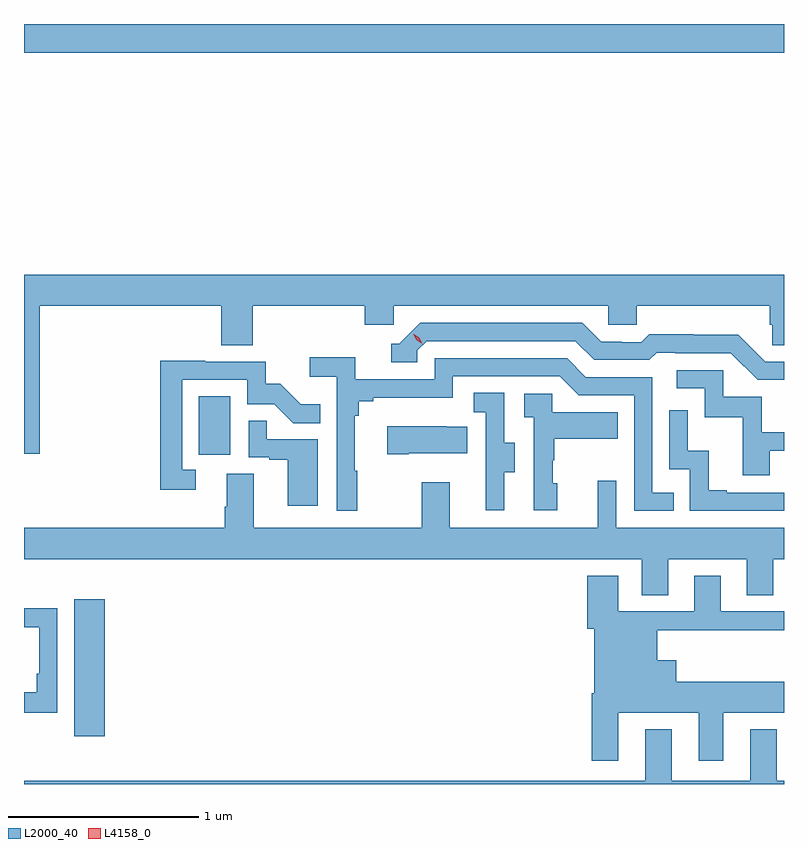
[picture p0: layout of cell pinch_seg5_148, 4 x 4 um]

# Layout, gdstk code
import gdstk
lib = gdstk.Library(unit=1e-6, precision=1e-09)
def R(c, l, rs):  # rectangles x0, y0, x1, y1
    for r in rs: c.add(gdstk.rectangle(r[:2], r[2:], *l))
def P(c, l, *ps):  # polygons
    for p in ps: c.add(gdstk.Polygon(p, *l))
L2000_40 = (2000, 40)
L4158_0 = (4158, 0)

pinch_seg5_148 = lib.new_cell('pinch_seg5_148')
R(pinch_seg5_148, L2000_40, [(1089.515,890.46,1089.676,891.181), (1090.172,891.942,1090.336,892.249), (1089.251,894.056,1093.251,894.208)])
P(pinch_seg5_148, L2000_40, [(1089.335,892.724),(1090.289,892.724),(1090.289,892.516),(1090.454,892.516),(1090.454,892.724),(1091.045,892.724),(1091.045,892.626),(1091.196,892.626),(1091.196,892.724),(1092.327,892.724),(1092.327,892.626),(1092.477,892.626),(1092.477,892.724),(1093.175,892.724),(1093.175,892.626),(1093.189,892.626),(1093.189,892.516),(1093.251,892.516),(1093.251,892.888),(1089.251,892.888),(1089.251,891.945),(1089.335,891.945)],
  [(1093.251,892.431),(1093.152,892.431),(1093.01,892.573),(1092.774,892.573),(1092.774,892.576),(1092.541,892.576),(1092.499,892.533),(1092.396,892.533),(1092.396,892.536),(1092.289,892.536),(1092.19,892.635),(1091.337,892.635),(1091.226,892.524),(1091.183,892.524),(1091.183,892.428),(1091.322,892.428),(1091.322,892.491),(1091.37,892.539),(1092.153,892.539),(1092.252,892.44),(1092.541,892.44),(1092.58,892.479),(1092.679,892.479),(1092.679,892.476),(1092.972,892.476),(1093.113,892.335),(1093.251,892.335)],
  [(1091.005,891.857),(1090.993,891.857),(1090.993,892.145),(1091.012,892.145),(1091.012,892.222),(1091.089,892.222),(1091.089,892.241),(1091.508,892.241),(1091.508,892.353),(1092.072,892.353),(1092.171,892.254),(1092.462,892.254),(1092.462,891.645),(1092.671,891.645),(1092.671,891.741),(1092.558,891.741),(1092.558,892.35),(1092.208,892.35),(1092.109,892.449),(1091.412,892.449),(1091.412,892.338),(1090.994,892.338),(1090.994,892.454),(1090.755,892.454),(1090.755,892.352),(1090.896,892.352),(1090.896,891.645),(1091.005,891.645)],
  [(1090.156,891.861),(1090.083,891.861),(1090.083,892.335),(1090.425,892.335),(1090.425,892.206),(1090.569,892.206),(1090.667,892.108),(1090.811,892.108),(1090.811,892.207),(1090.707,892.207),(1090.6,892.314),(1090.524,892.314),(1090.524,892.431),(1090.205,892.431),(1090.205,892.436),(1089.967,892.436),(1089.967,891.756),(1090.156,891.756)],
  [(1093.177,891.963),(1093.251,891.963),(1093.251,892.059),(1093.135,892.059),(1093.135,892.245),(1092.93,892.245),(1092.93,892.386),(1092.687,892.386),(1092.687,892.29),(1092.834,892.29),(1092.834,892.137),(1093.033,892.137),(1093.033,891.834),(1093.177,891.834)],
  [(1091.779,891.85),(1091.833,891.85),(1091.833,892.005),(1091.778,892.005),(1091.778,892.268),(1091.619,892.268),(1091.619,892.165),(1091.682,892.165),(1091.682,891.861),(1091.681,891.861),(1091.681,891.648),(1091.779,891.648)],
  [(1092.058,891.792),(1092.033,891.792),(1092.033,891.911),(1092.043,891.911),(1092.043,892.025),(1092.377,892.025),(1092.377,892.165),(1092.03,892.165),(1092.03,892.263),(1091.883,892.263),(1091.883,892.139),(1091.934,892.139),(1091.934,891.648),(1092.058,891.648)],
  [(1093.251,891.741),(1092.949,891.741),(1092.949,891.754),(1092.854,891.754),(1092.854,891.962),(1092.744,891.962),(1092.744,892.174),(1092.648,892.174),(1092.648,891.864),(1092.756,891.864),(1092.756,891.645),(1093.251,891.645)],
  [(1090.798,892.023),(1090.529,892.023),(1090.529,892.121),(1090.434,892.121),(1090.434,891.927),(1090.541,891.927),(1090.541,891.915),(1090.64,891.915),(1090.64,891.672),(1090.798,891.672)],
  [(1091.275,891.95),(1091.585,891.95),(1091.585,892.087),(1091.477,892.087),(1091.477,892.09),(1091.163,892.09),(1091.163,891.943),(1091.275,891.943)],
  [(1092.643,891.392),(1093.055,891.392),(1093.055,891.202),(1093.195,891.202),(1093.195,891.392),(1093.251,891.392),(1093.251,891.556),(1092.369,891.556),(1092.369,891.805),(1092.272,891.805),(1092.272,891.556),(1091.491,891.556),(1091.491,891.796),(1091.344,891.796),(1091.344,891.556),(1090.459,891.556),(1090.459,891.842),(1090.319,891.842),(1090.319,891.668),(1090.307,891.668),(1090.307,891.556),(1089.251,891.556),(1089.251,891.392),(1092.503,891.392),(1092.503,891.202),(1092.643,891.202)],
  [(1092.379,890.582),(1092.803,890.582),(1092.803,890.331),(1092.931,890.331),(1092.931,890.582),(1093.251,890.582),(1093.251,890.746),(1092.685,890.746),(1092.685,890.86),(1092.583,890.86),(1092.583,891.016),(1093.251,891.016),(1093.251,891.117),(1092.919,891.117),(1092.919,891.304),(1092.779,891.304),(1092.779,891.117),(1092.379,891.117),(1092.379,891.304),(1092.215,891.304),(1092.215,891.024),(1092.251,891.024),(1092.251,890.686),(1092.239,890.686),(1092.239,890.331),(1092.379,890.331)],
  [(1089.426,891.134),(1089.251,891.134),(1089.251,891.033),(1089.33,891.033),(1089.33,890.788),(1089.317,890.788),(1089.317,890.692),(1089.251,890.692),(1089.251,890.583),(1089.426,890.583)],
  [(1093.251,890.224),(1093.213,890.224),(1093.213,890.497),(1093.073,890.497),(1093.073,890.224),(1092.661,890.224),(1092.661,890.497),(1092.521,890.497),(1092.521,890.224),(1089.251,890.224),(1089.251,890.208),(1093.251,890.208)])
P(pinch_seg5_148, L4158_0, [(1091.347,892.526),(1091.316,892.545),(1091.299,892.577),(1091.299,892.578),(1091.299,892.578),(1091.33,892.558),(1091.347,892.526),(1091.347,892.526)])

lib.write_gds('pinch_seg5_148.gds')
